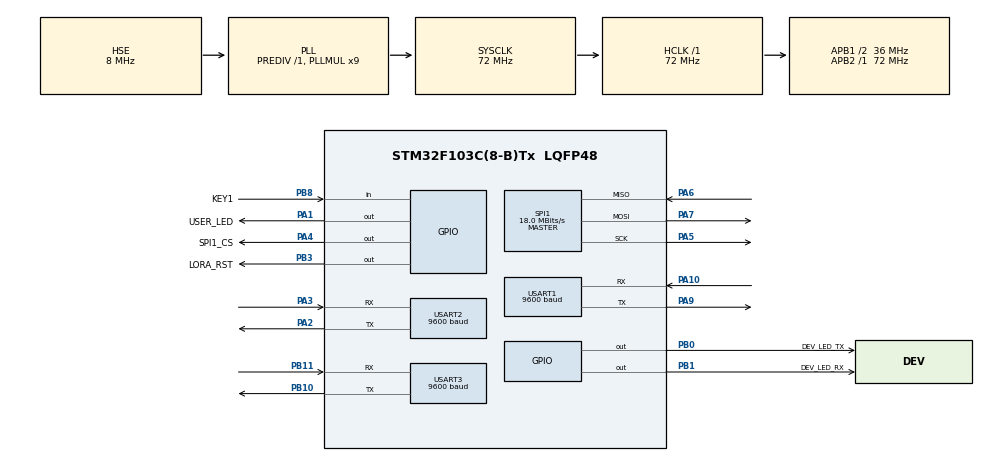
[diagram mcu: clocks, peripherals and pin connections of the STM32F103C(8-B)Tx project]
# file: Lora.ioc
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Dma.Request0=USART1_RX
Dma.Request1=USART1_TX
Dma.Request2=USART2_RX
Dma.Request3=USART2_TX
Dma.Request4=USART3_RX
Dma.Request5=USART3_TX
Dma.USART1_RX.0.Direction=DMA_PERIPH_TO_MEMORY
Dma.USART1_RX.0.Instance=DMA1_Channel5
Dma.USART1_RX.0.MemDataAlignment=DMA_MDATAALIGN_BYTE
Dma.USART1_RX.0.MemInc=DMA_MINC_ENABLE
Dma.USART1_RX.0.Mode=DMA_NORMAL
Dma.USART1_RX.0.PeriphDataAlignment=DMA_PDATAALIGN_BYTE
Dma.USART1_RX.0.PeriphInc=DMA_PINC_DISABLE
Dma.USART1_RX.0.Priority=DMA_PRIORITY_MEDIUM
Dma.USART1_TX.1.Direction=DMA_MEMORY_TO_PERIPH
Dma.USART1_TX.1.Instance=DMA1_Channel4
Dma.USART1_TX.1.MemDataAlignment=DMA_MDATAALIGN_BYTE
Dma.USART1_TX.1.MemInc=DMA_MINC_ENABLE
Dma.USART1_TX.1.Mode=DMA_NORMAL
Dma.USART1_TX.1.PeriphDataAlignment=DMA_PDATAALIGN_BYTE
Dma.USART1_TX.1.PeriphInc=DMA_PINC_DISABLE
Dma.USART1_TX.1.Priority=DMA_PRIORITY_MEDIUM
Dma.USART2_RX.2.Direction=DMA_PERIPH_TO_MEMORY
Dma.USART2_RX.2.Instance=DMA1_Channel6
Dma.USART2_RX.2.MemDataAlignment=DMA_MDATAALIGN_BYTE
Dma.USART2_RX.2.MemInc=DMA_MINC_ENABLE
Dma.USART2_RX.2.Mode=DMA_NORMAL
Dma.USART2_RX.2.PeriphDataAlignment=DMA_PDATAALIGN_BYTE
Dma.USART2_RX.2.PeriphInc=DMA_PINC_DISABLE
Dma.USART2_RX.2.Priority=DMA_PRIORITY_MEDIUM
Dma.USART2_TX.3.Direction=DMA_MEMORY_TO_PERIPH
Dma.USART2_TX.3.Instance=DMA1_Channel7
Dma.USART2_TX.3.MemDataAlignment=DMA_MDATAALIGN_BYTE
Dma.USART2_TX.3.MemInc=DMA_MINC_ENABLE
Dma.USART2_TX.3.Mode=DMA_NORMAL
Dma.USART2_TX.3.PeriphDataAlignment=DMA_PDATAALIGN_BYTE
Dma.USART2_TX.3.PeriphInc=DMA_PINC_DISABLE
Dma.USART2_TX.3.Priority=DMA_PRIORITY_MEDIUM
Dma.USART3_RX.4.Direction=DMA_PERIPH_TO_MEMORY
Dma.USART3_RX.4.Instance=DMA1_Channel3
Dma.USART3_RX.4.MemDataAlignment=DMA_MDATAALIGN_BYTE
Dma.USART3_RX.4.MemInc=DMA_MINC_ENABLE
Dma.USART3_RX.4.Mode=DMA_NORMAL
Dma.USART3_RX.4.PeriphDataAlignment=DMA_PDATAALIGN_BYTE
Dma.USART3_RX.4.PeriphInc=DMA_PINC_DISABLE
Dma.USART3_RX.4.Priority=DMA_PRIORITY_MEDIUM
Dma.USART3_TX.5.Direction=DMA_MEMORY_TO_PERIPH
Dma.USART3_TX.5.Instance=DMA1_Channel2
Dma.USART3_TX.5.MemDataAlignment=DMA_MDATAALIGN_BYTE
Dma.USART3_TX.5.MemInc=DMA_MINC_ENABLE
Dma.USART3_TX.5.Mode=DMA_NORMAL
Dma.USART3_TX.5.PeriphDataAlignment=DMA_PDATAALIGN_BYTE
Dma.USART3_TX.5.PeriphInc=DMA_PINC_DISABLE
Dma.USART3_TX.5.Priority=DMA_PRIORITY_MEDIUM
FATFS._CODE_PAGE=850
FATFS._MAX_SS=512
FATFS._USE_LFN=1
FATFS._VOLUMES=1
IWDG.Prescaler=IWDG_PRESCALER_256
IWDG.Reload=1600
Mcu.Family=STM32F1
Mcu.Name=STM32F103C(8-B)Tx
Mcu.Package=LQFP48
NVIC.DMA1_Channel2_IRQn=true\:0\:0\:false\:false\:true\:false\:true\:true
NVIC.DMA1_Channel3_IRQn=true\:0\:0\:false\:false\:true\:false\:true\:true
NVIC.DMA1_Channel4_IRQn=true\:0\:0\:false\:false\:true\:false\:true\:true
NVIC.DMA1_Channel5_IRQn=true\:0\:0\:false\:false\:true\:false\:true\:true
NVIC.DMA1_Channel6_IRQn=true\:0\:0\:false\:false\:true\:false\:true\:true
NVIC.DMA1_Channel7_IRQn=true\:0\:0\:false\:false\:true\:false\:true\:true
NVIC.PriorityGroup=NVIC_PRIORITYGROUP_2
NVIC.RCC_IRQn=true\:0\:0\:false\:false\:true\:true\:false\:true
NVIC.RTC_IRQn=true\:1\:0\:true\:false\:true\:true\:true\:true
NVIC.TIM3_IRQn=true\:0\:3\:false\:false\:true\:true\:true\:true
NVIC.USART1_IRQn=true\:0\:2\:false\:false\:true\:true\:true\:true
NVIC.USART2_IRQn=true\:0\:1\:false\:false\:true\:true\:true\:true
NVIC.USART3_IRQn=true\:0\:1\:false\:false\:true\:true\:true\:true
PA1.GPIO_Label=USER_LED
PA1.GPIO_PuPd=GPIO_PULLUP
PA1.Signal=GPIO_Output
PA10.Mode=Asynchronous
PA10.Signal=USART1_RX
PA13.Mode=Serial_Wire
PA13.Signal=SYS_JTMS-SWDIO
PA14.Mode=Serial_Wire
PA14.Signal=SYS_JTCK-SWCLK
PA2.Mode=Asynchronous
PA2.Signal=USART2_TX
PA3.Mode=Asynchronous
PA3.Signal=USART2_RX
PA4.GPIO_Label=SPI1_CS
PA4.GPIO_PuPd=GPIO_PULLUP
PA4.GPIO_Speed=GPIO_SPEED_FREQ_HIGH
PA4.Signal=GPIO_Output
PA5.Mode=Full_Duplex_Master
PA5.Signal=SPI1_SCK
PA6.Mode=Full_Duplex_Master
PA6.Signal=SPI1_MISO
PA7.Mode=Full_Duplex_Master
PA7.Signal=SPI1_MOSI
PA9.Mode=Asynchronous
PA9.Signal=USART1_TX
PB0.GPIO_Label=DEV_LED_TX
PB0.GPIO_PuPd=GPIO_PULLUP
PB0.Signal=GPIO_Output
PB1.GPIO_Label=DEV_LED_RX
PB1.GPIO_PuPd=GPIO_PULLUP
PB1.Signal=GPIO_Output
PB10.Mode=Asynchronous
PB10.Signal=USART3_TX
PB11.Mode=Asynchronous
PB11.Signal=USART3_RX
PB3.GPIO_Label=LORA_RST
PB3.GPIO_PuPd=GPIO_PULLUP
PB3.PinState=GPIO_PIN_SET
PB3.Signal=GPIO_Output
PB8.GPIO_Label=KEY1
PB8.GPIO_PuPd=GPIO_PULLUP
PB8.Signal=GPIO_Input
PD0-OSC_IN.Mode=HSE-External-Oscillator
PD0-OSC_IN.Signal=RCC_OSC_IN
PD1-OSC_OUT.Mode=HSE-External-Oscillator
PD1-OSC_OUT.Signal=RCC_OSC_OUT
ProjectManager.HeapSize=0x800
ProjectManager.StackSize=0x2200
ProjectManager.TargetToolchain=MDK-ARM V5.27
RCC.AHBFreq_Value=72000000
RCC.APB1CLKDivider=RCC_HCLK_DIV2
RCC.APB1Freq_Value=36000000
RCC.APB1TimFreq_Value=72000000
RCC.APB2Freq_Value=72000000
RCC.APB2TimFreq_Value=72000000
RCC.HCLKFreq_Value=72000000
RCC.PLLMUL=RCC_PLL_MUL9
RCC.PLLSourceVirtual=RCC_PLLSOURCE_HSE
RCC.SYSCLKFreq_VALUE=72000000
RCC.SYSCLKSource=RCC_SYSCLKSOURCE_PLLCLK
RCC.USBFreq_Value=72000000
RTC.Date=26
RTC.Hours=9
RTC.Minutes=35
RTC.Month=RTC_MONTH_AUGUST
RTC.WeekDay=RTC_WEEKDAY_THURSDAY
RTC.Year=22
SPI1.BaudRatePrescaler=SPI_BAUDRATEPRESCALER_4
SPI1.CalculateBaudRate=18.0 MBits/s
SPI1.Direction=SPI_DIRECTION_2LINES
SPI1.Mode=SPI_MODE_MASTER
SPI1.VirtualType=VM_MASTER
TIM3.Period=9999
TIM3.Prescaler=71
USART1.BaudRate=9600
USART1.VirtualMode=VM_ASYNC
USART2.BaudRate=9600
USART2.VirtualMode=VM_ASYNC
USART3.BaudRate=9600
USART3.VirtualMode=VM_ASYNC
VP_FATFS_VS_Generic.Mode=User_defined
VP_IWDG_VS_IWDG.Mode=IWDG_Activate
VP_RTC_No_RTC_Output.Mode=RTC_OUT_NO
VP_RTC_VS_RTC_Activate.Mode=RTC_Enabled
VP_RTC_VS_RTC_Calendar.Mode=RTC_Calendar
VP_TIM3_VS_ClockSourceINT.Mode=Internal
board=custom

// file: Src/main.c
/* USER CODE BEGIN Header */
/**
  ******************************************************************************
  * @file           : main.c
  * @brief          : Main program body
  ******************************************************************************
  * @attention
  *
  * <h2><center>&copy; Copyright (c) 2022 STMicroelectronics.
  * All rights reserved.</center></h2>
  *
  * This software component is licensed by ST under BSD 3-Clause license,
  * the "License"; You may not use this file except in compliance with the
  * License. You may obtain a copy of the License at:
  *                        opensource.org/licenses/BSD-3-Clause
  *
  ******************************************************************************
  */
/* USER CODE END Header */
#include "main.h"
#include "dma.h"
#include "fatfs.h"
#include "iwdg.h"
#include "rtc.h"
#include "spi.h"
#include "tim.h"
#include "usart.h"
#include "gpio.h"

/* USER CODE BEGIN Includes */
#include "User.h"
#include "stdio.h"
#include "string.h"
#include "SDdriver.h"
#include "Lora.h"
#include "FTU.h"
/* USER CODE END Includes */

void SystemClock_Config(void);

/* USER CODE BEGIN 0 */
//FIL file;
//char SD_FileName[] = "0:Test18.txt";
//char WriteBuffer[2000]={'0'};

/* USER CODE END 0 */

int main(void)
{
  /* USER CODE BEGIN 1 */
 #if SD_CARD_LOG
//  uint8_t res=0;
//  FATFS FS;
//  UINT Bw;
#endif
//  uint16_t FileSize ;
//  uint16_t temp=0;
  /* USER CODE END 1 */

  /* MCU Configuration--------------------------------------------------------*/

  /* Reset of all peripherals, Initializes the Flash interface and the Systick. */
  HAL_Init();

  /* Configure the system clock */
  SystemClock_Config();

  /* Initialize all configured peripherals */
  MX_GPIO_Init();
  MX_DMA_Init();
  MX_TIM3_Init();
  MX_USART1_UART_Init();
  MX_USART2_UART_Init();
  MX_USART3_UART_Init();
  MX_IWDG_Init();
  MX_SPI1_Init();
  MX_FATFS_Init();
  MX_RTC_Init();
  /* USER CODE BEGIN 2 */
  __HAL_RTC_SECOND_ENABLE_IT(&hrtc,RTC_IT_SEC); //开启秒中断

  HAL_Delay(200);

  Lora_Init();
  User_Init();
  FTU_Init();

// #if SD_CARD_LOG
//  SDCardLogInit();
//#endif
  HAL_Delay(200);
  Lora.RxCount = 0;
  FTU.RxCount = 0;

  HAL_GPIO_WritePin(USER_LED_GPIO_Port, USER_LED_Pin, GPIO_PIN_RESET);
  HAL_GPIO_WritePin(DEV_LED_TX_GPIO_Port, DEV_LED_TX_Pin, GPIO_PIN_RESET);
  HAL_GPIO_WritePin(DEV_LED_RX_GPIO_Port, DEV_LED_RX_Pin, GPIO_PIN_RESET);

  HAL_TIM_Base_Start_IT(&htim3);
  /* USER CODE END 2 */

  /* Infinite loop */
  while (1)
  {

    /* USER CODE BEGIN 3 */

    UserLoop();

    if(User.IwdgFlag == 1)
    {
      HAL_Delay(5);//不能低于5ms
      HAL_IWDG_Refresh(&hiwdg); //喂看门狗
    }

  }
  /* USER CODE END 3 */
}

void SystemClock_Config(void)
{
  RCC_OscInitTypeDef RCC_OscInitStruct = {0};
  RCC_ClkInitTypeDef RCC_ClkInitStruct = {0};
  RCC_PeriphCLKInitTypeDef PeriphClkInit = {0};

  /** Initializes the RCC Oscillators according to the specified parameters
  * in the RCC_OscInitTypeDef structure.
  */
  RCC_OscInitStruct.OscillatorType = RCC_OSCILLATORTYPE_LSI|RCC_OSCILLATORTYPE_HSE;
  RCC_OscInitStruct.HSEState = RCC_HSE_ON;
  RCC_OscInitStruct.HSEPredivValue = RCC_HSE_PREDIV_DIV1;
  RCC_OscInitStruct.HSIState = RCC_HSI_ON;
  RCC_OscInitStruct.LSIState = RCC_LSI_ON;
  RCC_OscInitStruct.PLL.PLLState = RCC_PLL_ON;
  RCC_OscInitStruct.PLL.PLLSource = RCC_PLLSOURCE_HSE;
  RCC_OscInitStruct.PLL.PLLMUL = RCC_PLL_MUL9;
  if (HAL_RCC_OscConfig(&RCC_OscInitStruct) != HAL_OK)
  {
    Error_Handler();
  }

  /** Initializes the CPU, AHB and APB buses clocks
  */
  RCC_ClkInitStruct.ClockType = RCC_CLOCKTYPE_HCLK|RCC_CLOCKTYPE_SYSCLK
                              |RCC_CLOCKTYPE_PCLK1|RCC_CLOCKTYPE_PCLK2;
  RCC_ClkInitStruct.SYSCLKSource = RCC_SYSCLKSOURCE_PLLCLK;
  RCC_ClkInitStruct.AHBCLKDivider = RCC_SYSCLK_DIV1;
  RCC_ClkInitStruct.APB1CLKDivider = RCC_HCLK_DIV2;
  RCC_ClkInitStruct.APB2CLKDivider = RCC_HCLK_DIV1;

  if (HAL_RCC_ClockConfig(&RCC_ClkInitStruct, FLASH_LATENCY_2) != HAL_OK)
  {
    Error_Handler();
  }
  PeriphClkInit.PeriphClockSelection = RCC_PERIPHCLK_RTC;
  PeriphClkInit.RTCClockSelection = RCC_RTCCLKSOURCE_LSI;
  if (HAL_RCCEx_PeriphCLKConfig(&PeriphClkInit) != HAL_OK)
  {
    Error_Handler();
  }
}

/* USER CODE BEGIN 4 */
//void SD_Write(FIL* fp, const void *buff, UINT btw,	UINT* bw)
//{
//  	uint8_t res=0;
//   // res = f_open(fp,SD_FileName,FA_WRITE);
//   //f_lseek(fp, f_size(fp));
//    res = f_write(fp,WriteBuffer ,strlen(WriteBuffer),bw);
//    f_sync(fp);
//   // f_close(fp);
//    res= res;
//}

/* USER CODE END 4 */

void Error_Handler(void)
{
  __disable_irq();
  while (1)
  {
  }
}
